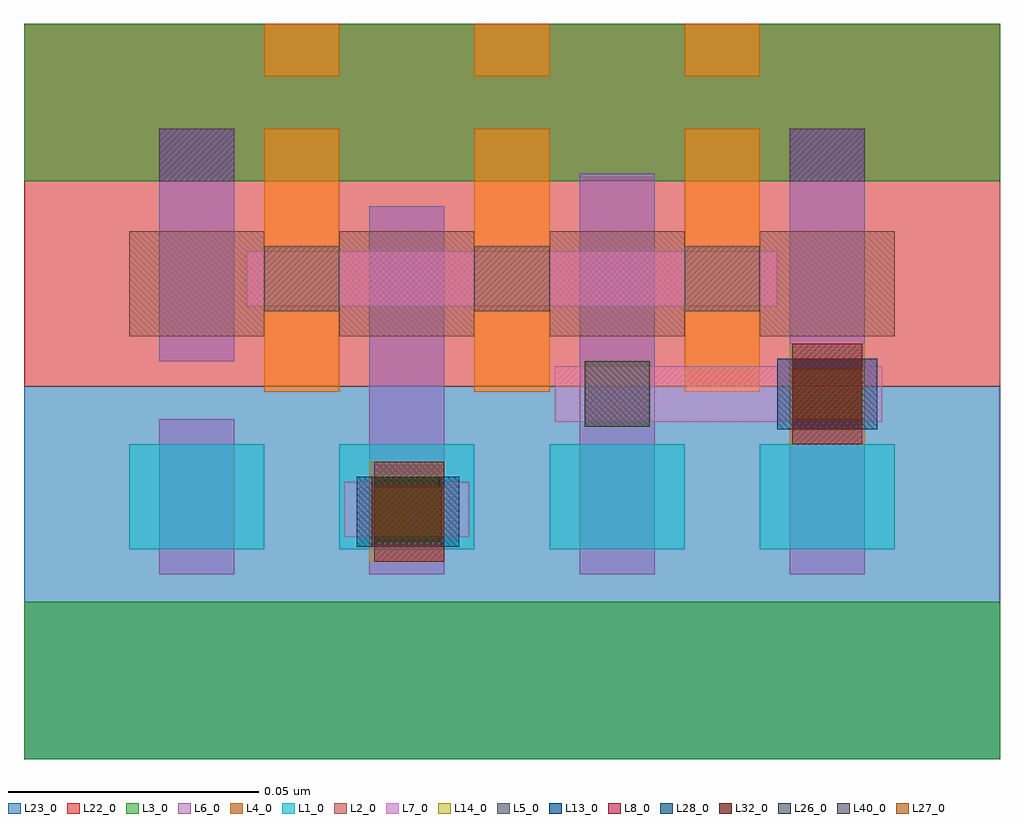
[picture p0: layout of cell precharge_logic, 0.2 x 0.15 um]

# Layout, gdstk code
import gdstk
lib = gdstk.Library(unit=1e-6, precision=2.5e-10)
def R(c, l, rs):  # rectangles x0, y0, x1, y1
    for r in rs: c.add(gdstk.rectangle(r[:2], r[2:], *l))
def A(c, l, x, y, w, h, nx, ny, dx, dy):  # array of equal rectangles
    R(c, l, [(x+i*dx, y+j*dy, x+i*dx+w, y+j*dy+h) for i in range(nx) for j in range(ny)])
L1_0 = (1, 0)
L2_0 = (2, 0)
L3_0 = (3, 0)
L4_0 = (4, 0)
L5_0 = (5, 0)
L6_0 = (6, 0)
L7_0 = (7, 0)
L8_0 = (8, 0)
L13_0 = (13, 0)
L14_0 = (14, 0)
L22_0 = (22, 0)
L23_0 = (23, 0)
L26_0 = (26, 0)
L27_0 = (27, 0)
L28_0 = (28, 0)
L32_0 = (32, 0)
L40_0 = (40, 0)

precharge_logic = lib.new_cell('precharge_logic')
A(precharge_logic, L1_0, 0.021, 0.042, 0.027, 0.021, 4, 1, 0.042, 0)
A(precharge_logic, L2_0, 0.021, 0.0845, 0.027, 0.021, 4, 1, 0.042, 0)
R(precharge_logic, L3_0, [(0,0,0.195,0.0315), (0,0.1155,0.195,0.147)])
A(precharge_logic, L4_0, 0.048, 0.0735, 0.015, 0.0525, 3, 1, 0.042, 0)
A(precharge_logic, L4_0, 0.048, 0.1365, 0.015, 0.0105, 3, 1, 0.042, 0)
A(precharge_logic, L5_0, 0.048, 0.0895, 0.015, 0.013, 3, 1, 0.042, 0)
R(precharge_logic, L6_0, [(0.027,0.037,0.042,0.068), (0.069,0.037,0.084,0.1105), (0.111,0.037,0.126,0.117), (0.153,0.037,0.168,0.068), (0.027,0.0795,0.042,0.126), (0.153,0.0795,0.168,0.126)])
R(precharge_logic, L7_0, [(0.064,0.0445,0.089,0.0555), (0.106,0.0675,0.1715,0.0785), (0.0445,0.0905,0.1505,0.1015)])
R(precharge_logic, L8_0, [(0.07,0.0395,0.084,0.0595), (0.1535,0.063,0.1675,0.083)])
R(precharge_logic, L13_0, [(0.0665,0.0425,0.087,0.0565), (0.1505,0.066,0.1705,0.08)])
R(precharge_logic, L14_0, [(0.069,0.0395,0.084,0.0595), (0.153,0.063,0.168,0.083)])
R(precharge_logic, L22_0, [(0,0.0745,0.195,0.147)])
R(precharge_logic, L23_0, [(0,0,0.195,0.0745)])
R(precharge_logic, L26_0, [(0.07,0.0435,0.083,0.0565), (0.112,0.0665,0.125,0.0795)])
R(precharge_logic, L27_0, [(0.07,0.0445,0.084,0.0545), (0.1535,0.068,0.1675,0.078)])
R(precharge_logic, L28_0, [(0.07,0.0425,0.084,0.0565), (0.1535,0.066,0.1675,0.08)])
R(precharge_logic, L32_0, [(0.0695,0.0425,0.0835,0.0565), (0.1535,0.066,0.1675,0.08)])
R(precharge_logic, L40_0, [(0.027,0.1155,0.042,0.126), (0.153,0.1155,0.168,0.126)])

lib.write_gds('precharge_logic.gds')
